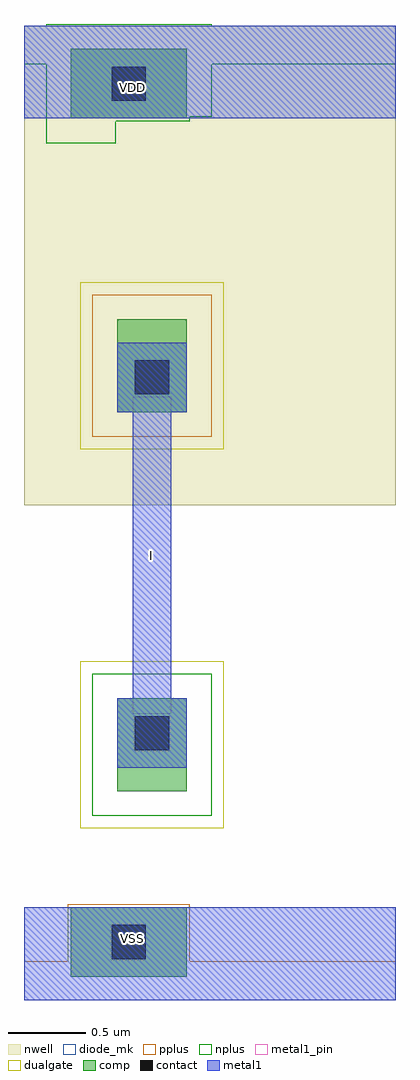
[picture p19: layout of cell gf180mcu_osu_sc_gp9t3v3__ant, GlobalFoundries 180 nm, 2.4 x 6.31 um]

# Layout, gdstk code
import gdstk
lib = gdstk.Library(unit=1e-6, precision=1e-09)
def R(c, l, rs):  # rectangles x0, y0, x1, y1
    for r in rs: c.add(gdstk.rectangle(r[:2], r[2:], *l))
nwell = (21, 0)
comp = (22, 0)
pplus = (31, 0)
nplus = (32, 0)
contact = (33, 0)
metal1 = (34, 0)
metal1_pin = (34, 10)
dualgate = (55, 0)
diode_mk = (115, 5)

gf180mcu_osu_sc_gp9t3v3_ = lib.new_cell('gf180mcu_osu_sc_gp9t3v3__ant')
R(gf180mcu_osu_sc_gp9t3v3_, nwell, [(0,3.2,2.4,6.3)])
R(gf180mcu_osu_sc_gp9t3v3_, comp, [(0.3,0.15,1.05,0.6), (0.6,1.35,1.05,1.95), (0.6,3.8,1.05,4.4), (0.3,5.7,1.05,6.15)])
R(gf180mcu_osu_sc_gp9t3v3_, pplus, [(0,0,2.4,0.25), (0.28,0.13,1.07,0.62), (0.44,3.64,1.21,4.56)])
R(gf180mcu_osu_sc_gp9t3v3_, nplus, [(0.44,1.19,1.21,2.11), (0.14,5.54,0.59,5.68), (0.14,5.68,1.07,5.71), (0.14,5.71,1.21,6.05), (0,6.05,2.4,6.3), (0,6.05,2.4,6.3), (0.14,6.3,1.21,6.31)])
R(gf180mcu_osu_sc_gp9t3v3_, contact, [(0.565,0.265,0.785,0.485), (0.715,1.615,0.935,1.835), (0.715,3.915,0.935,4.135), (0.565,5.815,0.785,6.035)])
R(gf180mcu_osu_sc_gp9t3v3_, metal1, [(0,0,2.4,0.6), (0.6,1.5,1.05,1.95), (0.7,1.95,0.95,3.8), (0.6,3.8,1.05,4.25), (0,5.7,2.4,6.3)])
R(gf180mcu_osu_sc_gp9t3v3_, metal1_pin, [(0.7,1.85,0.95,3.9)])
R(gf180mcu_osu_sc_gp9t3v3_, dualgate, [(0.36,1.11,1.29,2.19), (0.36,3.56,1.29,4.64)])
R(gf180mcu_osu_sc_gp9t3v3_, diode_mk, [(0.6,1.35,1.05,1.95), (0.6,3.8,1.05,4.4)])
gf180mcu_osu_sc_gp9t3v3_.add(gdstk.Label('VDD', (0.7,5.9), layer=22, texttype=0))
gf180mcu_osu_sc_gp9t3v3_.add(gdstk.Label('VSS', (0.7,0.4), layer=34, texttype=10))
gf180mcu_osu_sc_gp9t3v3_.add(gdstk.Label('I', (0.825,2.875), layer=34, texttype=10))

lib.write_gds('gf180mcu_osu_sc_gp9t3v3__ant.gds')
